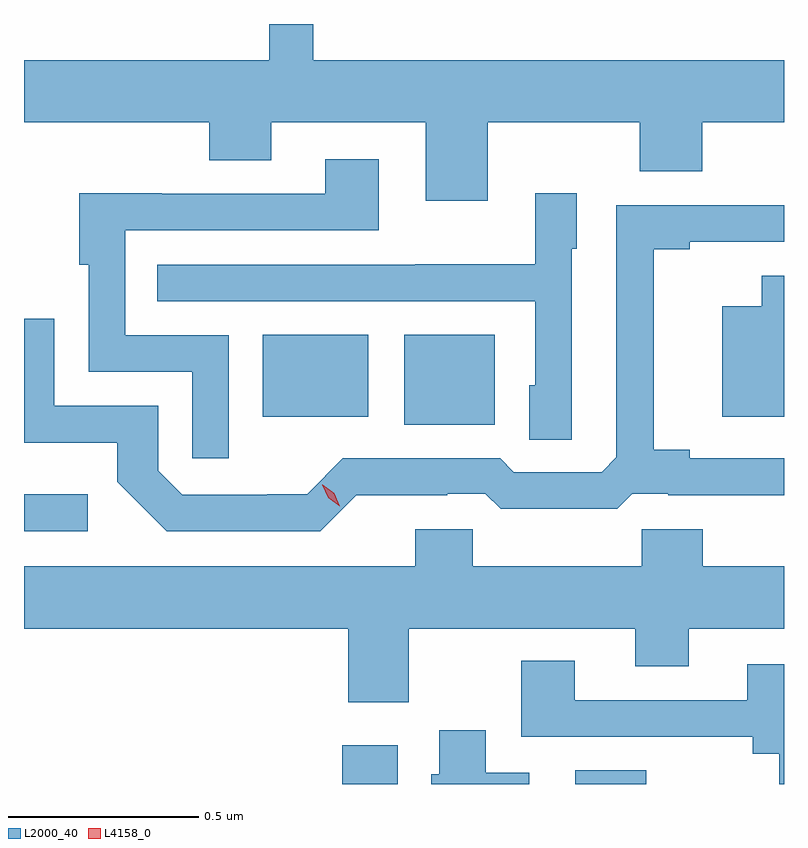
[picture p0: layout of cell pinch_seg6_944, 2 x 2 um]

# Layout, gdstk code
import gdstk
lib = gdstk.Library(unit=1e-6, precision=1e-09)
def R(c, l, rs):  # rectangles x0, y0, x1, y1
    for r in rs: c.add(gdstk.rectangle(r[:2], r[2:], *l))
def P(c, l, *ps):  # polygons
    for p in ps: c.add(gdstk.Polygon(p, *l))
L2000_40 = (2000, 40)
L4158_0 = (4158, 0)

pinch_seg6_944 = lib.new_cell('pinch_seg6_944')
R(pinch_seg6_944, L2000_40, [(226.178,940.267,226.324,940.369), (226.79,940.267,226.978,940.303), (225.34,940.932,225.508,941.029), (226.34,941.213,226.579,941.449), (225.968,941.234,226.246,941.449)])
P(pinch_seg6_944, L2000_40, [(226.561,942.008),(226.961,942.008),(226.961,941.88),(227.125,941.88),(227.125,942.008),(227.34,942.008),(227.34,942.172),(226.101,942.172),(226.101,942.267),(225.985,942.267),(225.985,942.172),(225.34,942.172),(225.34,942.008),(225.827,942.008),(225.827,941.909),(225.991,941.909),(225.991,942.008),(226.397,942.008),(226.397,941.802),(226.561,941.802)],
  [(225.879,941.448),(225.606,941.448),(225.606,941.724),(226.273,941.724),(226.273,941.911),(226.133,941.911),(226.133,941.82),(225.703,941.82),(225.703,941.822),(225.485,941.822),(225.485,941.634),(225.51,941.634),(225.51,941.352),(225.783,941.352),(225.783,941.124),(225.879,941.124)],
  [(226.782,941.676),(226.795,941.676),(226.795,941.821),(226.686,941.821),(226.686,941.635),(226.369,941.635),(226.369,941.634),(225.691,941.634),(225.691,941.538),(226.686,941.538),(226.686,941.316),(226.67,941.316),(226.67,941.173),(226.782,941.173)],
  [(226.214,941.027),(226.454,941.027),(226.454,941.031),(226.554,941.031),(226.594,940.992),(226.901,940.992),(226.941,941.031),(227.035,941.031),(227.035,941.027),(227.34,941.027),(227.34,941.124),(227.092,941.124),(227.092,941.147),(226.997,941.147),(226.997,941.674),(227.092,941.674),(227.092,941.694),(227.34,941.694),(227.34,941.79),(226.899,941.79),(226.899,941.127),(226.86,941.088),(226.629,941.088),(226.593,941.124),(226.179,941.124),(226.085,941.03),(225.98,941.03),(225.98,941.028),(225.756,941.028),(225.693,941.091),(225.693,941.262),(225.42,941.262),(225.42,941.491),(225.34,941.491),(225.34,941.165),(225.586,941.165),(225.586,941.063),(225.716,940.932),(226.119,940.932)],
  [(227.34,941.605),(227.282,941.605),(227.282,941.524),(227.177,941.524),(227.177,941.234),(227.34,941.234)],
  [(226.353,940.676),(226.949,940.676),(226.949,940.577),(227.089,940.577),(227.089,940.676),(227.34,940.676),(227.34,940.84),(227.126,940.84),(227.126,940.938),(226.966,940.938),(226.966,940.84),(226.521,940.84),(226.521,940.938),(226.37,940.938),(226.37,940.84),(225.34,940.84),(225.34,940.676),(226.193,940.676),(226.193,940.482),(226.353,940.482)],
  [(227.34,940.582),(227.243,940.582),(227.243,940.488),(226.789,940.488),(226.789,940.591),(226.649,940.591),(226.649,940.392),(227.258,940.392),(227.258,940.346),(227.328,940.346),(227.328,940.267),(227.34,940.267)],
  [(226.669,940.297),(226.555,940.297),(226.555,940.408),(226.433,940.408),(226.433,940.293),(226.412,940.293),(226.412,940.267),(226.669,940.267)])
P(pinch_seg6_944, L4158_0, [(226.171,940.998),(226.141,941.02),(226.125,941.054),(226.125,941.054),(226.126,941.054),(226.156,941.032),(226.171,940.998),(226.171,940.998)])

lib.write_gds('pinch_seg6_944.gds')
